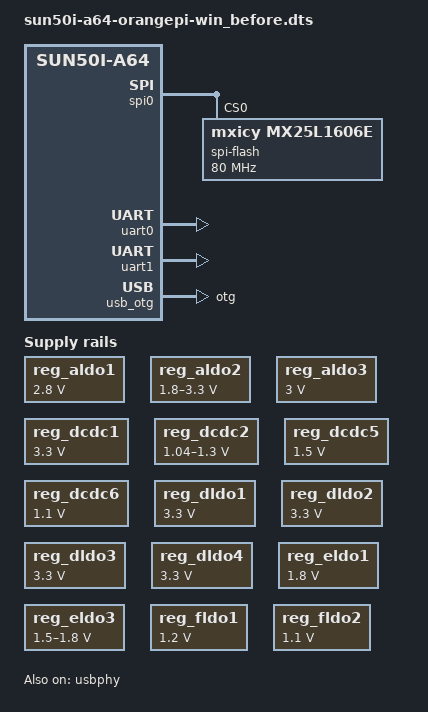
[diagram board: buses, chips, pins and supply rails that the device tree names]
	axp803: pmic@3a3 {
		compatible = "x-powers,axp803";
		reg = <0x3a3>;
		interrupt-parent = <&r_intc>;
		interrupts = <0 IRQ_TYPE_LEVEL_LOW>;
	};
};

#include "axp803.dtsi"

&reg_aldo1 {
	regulator-min-microvolt = <2800000>;
	regulator-max-microvolt = <2800000>;
	regulator-name = "afvcc-csi";
};

&reg_aldo2 {
	regulator-always-on;
	regulator-min-microvolt = <1800000>;
	regulator-max-microvolt = <3300000>;
	regulator-name = "vcc-pl";
};

&reg_aldo3 {
	regulator-always-on;
	regulator-min-microvolt = <3000000>;
	regulator-max-microvolt = <3000000>;
	regulator-name = "vcc-pll-avcc";
};

&reg_dcdc1 {
	regulator-always-on;
	regulator-min-microvolt = <3300000>;
	regulator-max-microvolt = <3300000>;
	regulator-name = "vcc-3v3";
};

&reg_dcdc2 {
	regulator-always-on;
	regulator-min-microvolt = <1040000>;
	regulator-max-microvolt = <1300000>;
	regulator-name = "vdd-cpux";
};

/* DCDC3 is polyphased with DCDC2 */

&reg_dcdc5 {
	regulator-always-on;
	regulator-min-microvolt = <1500000>;
	regulator-max-microvolt = <1500000>;
	regulator-name = "vcc-dram";
};

&reg_dcdc6 {
	regulator-always-on;
	regulator-min-microvolt = <1100000>;
	regulator-max-microvolt = <1100000>;
	regulator-name = "vdd-sys";
};

&reg_dldo1 {
	regulator-min-microvolt = <3300000>;
	regulator-max-microvolt = <3300000>;
	regulator-name = "vcc-hdmi-dsi";
};

&reg_dldo2 {
	regulator-min-microvolt = <3300000>;
	regulator-max-microvolt = <3300000>;
	regulator-name = "vcc-wifi";
};

&reg_dldo3 {
	regulator-min-microvolt = <3300000>;
	regulator-max-microvolt = <3300000>;
	regulator-name = "avdd-csi";
};

&reg_dldo4 {
	regulator-min-microvolt = <3300000>;
	regulator-max-microvolt = <3300000>;
	regulator-name = "vcc-wifi-io";
};

&reg_drivevbus {
	regulator-name = "usb0-vbus";
	status = "okay";
};

&reg_eldo1 {
	regulator-min-microvolt = <1800000>;
	regulator-max-microvolt = <1800000>;
	regulator-name = "cpvdd";
};

&reg_eldo3 {
	regulator-min-microvolt = <1500000>;
	regulator-max-microvolt = <1800000>;
	regulator-name = "dvdd-csi";
};

&reg_fldo1 {
	regulator-min-microvolt = <1200000>;
	regulator-max-microvolt = <1200000>;
	regulator-name = "vcc-1v2-hsic";
};

/*
 * The A64 chip cannot work without this regulator off, although
 * it seems to be only driving the AR100 core.
 * Maybe we don't still know well about CPUs domain.
 */
&reg_fldo2 {
	regulator-always-on;
	regulator-min-microvolt = <1100000>;
	regulator-max-microvolt = <1100000>;
	regulator-name = "vdd-cpus";
};

&reg_rtc_ldo {
	regulator-name = "vcc-rtc";
};

&simplefb_hdmi {
	vcc-hdmi-supply = <&reg_dldo1>;
};

&spi0 {
	status = "okay";

	spi-flash@0 {
		compatible = "mxicy,mx25l1606e", "jedec,spi-nor";
		reg = <0>;
		spi-max-frequency = <80000000>;
		m25p,fast-read;
		status = "okay";
	};
};

/* On debug connector */
&uart0 {
	pinctrl-names = "default";
	pinctrl-0 = <&uart0_pb_pins>;
	status = "okay";
};

/* Bluetooth */
&uart1 {
	pinctrl-names = "default";
	pinctrl-0 = <&uart1_pins>, <&uart1_rts_cts_pins>;
	status = "okay";
};

/* On Pi-2 connector, RTS/CTS optional */
&uart2 {
	pinctrl-names = "default";
	pinctrl-0 = <&uart2_pins>;
	status = "disabled";
};

/* On Pi-2 connector, RTS/CTS optional */
&uart3 {
	pinctrl-names = "default";
	pinctrl-0 = <&uart3_pins>;
	status = "disabled";
};

/* On Pi-2 connector (labeled for SPI1), RTS/CTS optional */
&uart4 {
	pinctrl-names = "default";
	pinctrl-0 = <&uart4_pins>;
	status = "disabled";
};

&usb_otg {
	dr_mode = "otg";
	status = "okay";
};

&usbphy {
	usb0_id_det-gpios = <&pio 7 9 GPIO_ACTIVE_HIGH>; /* PH9 */
	usb0_vbus-supply = <&reg_drivevbus>;
	usb1_vbus-supply = <&reg_usb1_vbus>;
	status = "okay";
};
